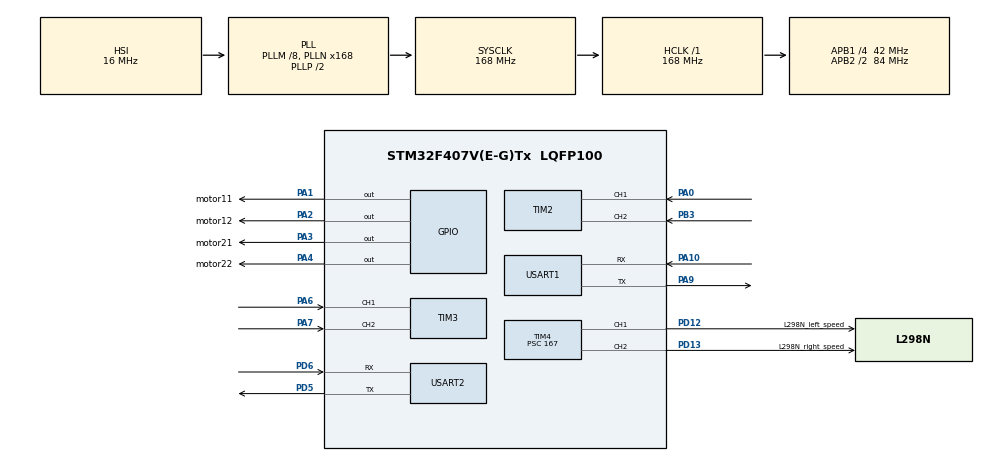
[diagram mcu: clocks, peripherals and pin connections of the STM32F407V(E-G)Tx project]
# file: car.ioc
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Dma.Request0=USART2_RX
Dma.Request1=USART2_TX
Dma.USART2_RX.0.Direction=DMA_PERIPH_TO_MEMORY
Dma.USART2_RX.0.FIFOMode=DMA_FIFOMODE_DISABLE
Dma.USART2_RX.0.Instance=DMA1_Stream5
Dma.USART2_RX.0.MemDataAlignment=DMA_MDATAALIGN_BYTE
Dma.USART2_RX.0.MemInc=DMA_MINC_ENABLE
Dma.USART2_RX.0.Mode=DMA_NORMAL
Dma.USART2_RX.0.PeriphDataAlignment=DMA_PDATAALIGN_BYTE
Dma.USART2_RX.0.PeriphInc=DMA_PINC_DISABLE
Dma.USART2_RX.0.Priority=DMA_PRIORITY_LOW
Dma.USART2_TX.1.Direction=DMA_MEMORY_TO_PERIPH
Dma.USART2_TX.1.FIFOMode=DMA_FIFOMODE_DISABLE
Dma.USART2_TX.1.Instance=DMA1_Stream6
Dma.USART2_TX.1.MemDataAlignment=DMA_MDATAALIGN_BYTE
Dma.USART2_TX.1.MemInc=DMA_MINC_ENABLE
Dma.USART2_TX.1.Mode=DMA_NORMAL
Dma.USART2_TX.1.PeriphDataAlignment=DMA_PDATAALIGN_BYTE
Dma.USART2_TX.1.PeriphInc=DMA_PINC_DISABLE
Dma.USART2_TX.1.Priority=DMA_PRIORITY_LOW
Mcu.Family=STM32F4
Mcu.Name=STM32F407V(E-G)Tx
Mcu.Package=LQFP100
NVIC.DMA1_Stream5_IRQn=true\:0\:0\:false\:false\:true\:false\:true\:true
NVIC.DMA1_Stream6_IRQn=true\:0\:0\:false\:false\:true\:false\:true\:true
NVIC.PriorityGroup=NVIC_PRIORITYGROUP_4
NVIC.TIM1_BRK_TIM9_IRQn=true\:0\:0\:false\:false\:true\:true\:true\:true
NVIC.USART2_IRQn=true\:0\:0\:false\:false\:true\:true\:true\:true
PA0-WKUP.Signal=S_TIM2_CH1_ETR
PA1.GPIO_Label=motor11
PA1.Signal=GPIO_Output
PA10.Mode=Asynchronous
PA10.Signal=USART1_RX
PA13.Mode=Serial_Wire
PA13.Signal=SYS_JTMS-SWDIO
PA14.Mode=Serial_Wire
PA14.Signal=SYS_JTCK-SWCLK
PA2.GPIO_Label=motor12
PA2.Signal=GPIO_Output
PA3.GPIO_Label=motor21
PA3.Signal=GPIO_Output
PA4.GPIO_Label=motor22
PA4.Signal=GPIO_Output
PA6.Signal=S_TIM3_CH1
PA7.Signal=S_TIM3_CH2
PA9.Mode=Asynchronous
PA9.Signal=USART1_TX
PB3.Signal=S_TIM2_CH2
PD12.GPIO_Label=L298N_left_speed
PD12.GPIO_Speed=GPIO_SPEED_FREQ_HIGH
PD12.Signal=S_TIM4_CH1
PD13.GPIO_Label=L298N_right_speed
PD13.GPIO_Speed=GPIO_SPEED_FREQ_HIGH
PD13.Signal=S_TIM4_CH2
PD5.Mode=Asynchronous
PD5.Signal=USART2_TX
PD6.Mode=Asynchronous
PD6.Signal=USART2_RX
PH0-OSC_IN.Mode=HSE-External-Oscillator
PH0-OSC_IN.Signal=RCC_OSC_IN
PH1-OSC_OUT.Mode=HSE-External-Oscillator
PH1-OSC_OUT.Signal=RCC_OSC_OUT
ProjectManager.HeapSize=0x200
ProjectManager.StackSize=0x400
ProjectManager.TargetToolchain=MDK-ARM V5.32
RCC.48MHZClocksFreq_Value=84000000
RCC.AHBFreq_Value=168000000
RCC.APB1CLKDivider=RCC_HCLK_DIV4
RCC.APB1Freq_Value=42000000
RCC.APB1TimFreq_Value=84000000
RCC.APB2CLKDivider=RCC_HCLK_DIV2
RCC.APB2Freq_Value=84000000
RCC.APB2TimFreq_Value=168000000
RCC.CortexFreq_Value=168000000
RCC.HCLKFreq_Value=168000000
RCC.HSE_VALUE=8000000
RCC.HSI_VALUE=16000000
RCC.LSE_VALUE=32768
RCC.PLLM=8
RCC.PLLN=168
RCC.SYSCLKFreq_VALUE=168000000
RCC.SYSCLKSource=RCC_SYSCLKSOURCE_PLLCLK
RCC.VCOOutputFreq_Value=336000000
SH.S_TIM2_CH1_ETR.0=TIM2_CH1,Encoder_Interface
SH.S_TIM2_CH2.0=TIM2_CH2,Encoder_Interface
SH.S_TIM3_CH1.0=TIM3_CH1,Encoder_Interface
SH.S_TIM3_CH2.0=TIM3_CH2,Encoder_Interface
SH.S_TIM4_CH1.0=TIM4_CH1,PWM Generation1 CH1
SH.S_TIM4_CH2.0=TIM4_CH2,PWM Generation2 CH2
TIM2.EncoderMode=TIM_ENCODERMODE_TI12
TIM2.IC1Filter=10
TIM2.IC2Filter=10
TIM3.EncoderMode=TIM_ENCODERMODE_TI12
TIM3.IC1Filter=10
TIM3.IC2Filter=10
TIM4.AutoReloadPreload=TIM_AUTORELOAD_PRELOAD_ENABLE
TIM4.Channel-PWM\ Generation1\ CH1=TIM_CHANNEL_1
TIM4.Channel-PWM\ Generation2\ CH2=TIM_CHANNEL_2
TIM4.Period=99
TIM4.Prescaler=167
TIM9.Period=100
TIM9.Prescaler=16800-1
USART1.VirtualMode=VM_ASYNC
USART2.VirtualMode=VM_ASYNC
VP_TIM4_VS_ClockSourceINT.Mode=Internal
VP_TIM9_VS_ClockSourceINT.Mode=Internal
board=custom

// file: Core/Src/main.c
/* USER CODE BEGIN Header */
/**
  ******************************************************************************
  * @file           : main.c
  * @brief          : Main program body
  ******************************************************************************
  * @attention
  *
  * Copyright (c) 2023 STMicroelectronics.
  * All rights reserved.
  *
  * This software is licensed under terms that can be found in the LICENSE file
  * in the root directory of this software component.
  * If no LICENSE file comes with this software, it is provided AS-IS.
  *
  ******************************************************************************
  */
/* USER CODE END Header */
#include "main.h"
#include "dma.h"
#include "tim.h"
#include "usart.h"
#include "gpio.h"

/* USER CODE BEGIN Includes */
#include "motor.h"
#include "encoder.h"
#include <stdio.h>
#include <string.h>
#include <stdlib.h>
/* USER CODE END Includes */

/* USER CODE BEGIN PM */
uint8_t receive_buff[255];
int data_length=7;
#define USART_TX_LEN 7
uint8_t USART_TX_BUF[USART_TX_LEN];

///////////////////////////////
void recieve(void);
void send(void);

int ble_send(uint8_t *data,int len);
void Float_to_Byte(float f,uint8_t *byte);
void Short_to_Byte(short s,uint8_t *byte);
void Int_to_Byte(int i,uint8_t *byte);

void limiting_target_rpm_right(void);
void limiting_target_rpm_left(void);

void encoder_speed(void);

typedef struct {
    uint8_t option;
		int xunji;
		char aim_or_not;
} RecData;

 RecData rec_data;//蓝牙接收摇杆数据

float rmp_left,rmp_right;//目前转速

int target_rpm_right_origin=0;//解算后的目标转速
int target_rpm_left_origin=0;//目标转速
int target_rpm_right=0;//积分限幅后的目标转速
int target_rpm_left=0;//目标转速
/* USER CODE END PM */

/* USER CODE BEGIN PV */
uint32_t speed = 60 ;
uint32_t rmp_base = 250 ;

//pid
int Encoder_count_left,Encoder_count_right,Target_Velocity_left,Target_Velocity_right;
float Velocity_KP=0.6,Velocity_KI=0.06,Velocity_KD;

int Moto_pwm_left=0;
int Moto_pwm_right=0;

/* USER CODE END PV */

void SystemClock_Config(void);

int main(void)
{

  /* MCU Configuration--------------------------------------------------------*/

  /* Reset of all peripherals, Initializes the Flash interface and the Systick. */
  HAL_Init();

  /* Configure the system clock */
  SystemClock_Config();

  /* Initialize all configured peripherals */
  MX_GPIO_Init();
  MX_DMA_Init();
  MX_TIM4_Init();
  MX_TIM2_Init();
  MX_USART1_UART_Init();
  MX_TIM9_Init();
  MX_TIM3_Init();
  MX_USART2_UART_Init();
  /* USER CODE BEGIN 2 */
   HAL_TIM_Encoder_Start(&htim2, TIM_CHANNEL_ALL);//开启TIM2的编码器接口模式
	  HAL_TIM_Encoder_Start(&htim3, TIM_CHANNEL_ALL);//开启TIM3的编码器接口模式

		//PWM输出
		HAL_TIM_PWM_Start(&htim4, TIM_CHANNEL_1);
		HAL_TIM_PWM_Start(&htim4, TIM_CHANNEL_2);

		//__HAL_TIM_SET_COMPARE(&htim4, TIM_CHANNEL_1,speed);
		//__HAL_TIM_SET_COMPARE(&htim4, TIM_CHANNEL_2,speed);

		car_go_straight();

		HAL_TIM_Base_Start_IT(&htim9);

  /* USER CODE END 2 */

  /* Infinite loop */
  while (1)
  {

    /* USER CODE BEGIN 3 */
		HAL_UART_Receive_DMA(&huart2, (uint8_t*)receive_buff, data_length);
		recieve();//recieve
		//send();//send
		encoder_speed();
		HAL_Delay(15);

  }
  /* USER CODE END 3 */
}

void SystemClock_Config(void)
{
  RCC_OscInitTypeDef RCC_OscInitStruct = {0};
  RCC_ClkInitTypeDef RCC_ClkInitStruct = {0};

  /** Configure the main internal regulator output voltage
  */
  __HAL_RCC_PWR_CLK_ENABLE();
  __HAL_PWR_VOLTAGESCALING_CONFIG(PWR_REGULATOR_VOLTAGE_SCALE1);

  /** Initializes the RCC Oscillators according to the specified parameters
  * in the RCC_OscInitTypeDef structure.
  */
  RCC_OscInitStruct.OscillatorType = RCC_OSCILLATORTYPE_HSI;
  RCC_OscInitStruct.HSIState = RCC_HSI_ON;
  RCC_OscInitStruct.HSICalibrationValue = RCC_HSICALIBRATION_DEFAULT;
  RCC_OscInitStruct.PLL.PLLState = RCC_PLL_ON;
  RCC_OscInitStruct.PLL.PLLSource = RCC_PLLSOURCE_HSI;
  RCC_OscInitStruct.PLL.PLLM = 8;
  RCC_OscInitStruct.PLL.PLLN = 168;
  RCC_OscInitStruct.PLL.PLLP = RCC_PLLP_DIV2;
  RCC_OscInitStruct.PLL.PLLQ = 4;
  if (HAL_RCC_OscConfig(&RCC_OscInitStruct) != HAL_OK)
  {
    Error_Handler();
  }

  /** Initializes the CPU, AHB and APB buses clocks
  */
  RCC_ClkInitStruct.ClockType = RCC_CLOCKTYPE_HCLK|RCC_CLOCKTYPE_SYSCLK
                              |RCC_CLOCKTYPE_PCLK1|RCC_CLOCKTYPE_PCLK2;
  RCC_ClkInitStruct.SYSCLKSource = RCC_SYSCLKSOURCE_PLLCLK;
  RCC_ClkInitStruct.AHBCLKDivider = RCC_SYSCLK_DIV1;
  RCC_ClkInitStruct.APB1CLKDivider = RCC_HCLK_DIV4;
  RCC_ClkInitStruct.APB2CLKDivider = RCC_HCLK_DIV2;

  if (HAL_RCC_ClockConfig(&RCC_ClkInitStruct, FLASH_LATENCY_5) != HAL_OK)
  {
    Error_Handler();
  }
}

/* USER CODE BEGIN 4 */
void recieve(void){
				rec_data.xunji = *((int *) (&receive_buff[1]));
				rec_data.aim_or_not=*((char *) (&receive_buff[5]));

				//printf("decodertest");//1
				//printf("xunji=%d ",rec_data.xunji);
				//printf("aim_or_not=%c\n",rec_data.aim_or_not);

}

void send(void){//send speed to phone
		USART_TX_BUF[0] = 0xA5;

		Float_to_Byte(rmp_left,&USART_TX_BUF[1]);
		Float_to_Byte(rmp_right,&USART_TX_BUF[5]);

		//USART_TX_BUF[9] =(uint8_t) ((USART_TX_BUF[1]+USART_TX_BUF[2]+USART_TX_BUF[3]+USART_TX_BUF[4]+USART_TX_BUF[5]+USART_TX_BUF[6]+USART_TX_BUF[7]+USART_TX_BUF[8])&0xff);

		//USART_TX_BUF[10] = 0x5A;
		ble_send(USART_TX_BUF,11);

}

//send data to hc-05
int ble_send(uint8_t *data,int len)
{
	while(__HAL_UART_GET_FLAG(&huart2,UART_FLAG_TC)!=SET);	//wait until tx complete
	if(!data)return -1;
	HAL_UART_Transmit_DMA(&huart2,(uint8_t *)data,len);	//使用DMA模式发送
	while(__HAL_UART_GET_FLAG(&huart2,UART_FLAG_TC)!=SET);
	return 0;
}

//change to byte
void Int_to_Byte(int i,uint8_t *byte)
{

	unsigned long longdata = 0;
	longdata = *(unsigned long*)&i;
	byte[3] = (longdata & 0xFF000000) >> 24;
	byte[2] = (longdata & 0x00FF0000) >> 16;
	byte[1] = (longdata & 0x0000FF00) >> 8;
	byte[0] = (longdata & 0x000000FF);

}
void Float_to_Byte(float f,uint8_t *byte)
{

	unsigned long longdata = 0;
	longdata = *(unsigned long*)&f;
	byte[3] = (longdata & 0xFF000000) >> 24;
	byte[2] = (longdata & 0x00FF0000) >> 16;
	byte[1] = (longdata & 0x0000FF00) >> 8;
	byte[0] = (longdata & 0x000000FF);

}

void Short_to_Byte(short s,uint8_t *byte)
{

	byte[1] = (s & 0xFF00) >> 8;
	byte[0] = (s & 0xFF);
}

//目标值限幅
void limiting_target_rpm_left(void)
{
	  int maximum=700;    //积分最大为

		target_rpm_left=target_rpm_left_origin;
	  if(target_rpm_left<-maximum) target_rpm_left=-maximum;
		if(target_rpm_left>maximum)  target_rpm_left=maximum;

}
void limiting_target_rpm_right(void)
{
	  int maximum=700;    //积分最大为

		target_rpm_right=target_rpm_right_origin;
	  if(target_rpm_right<-maximum) target_rpm_right=-maximum;
		if(target_rpm_right>maximum)  target_rpm_right=maximum;

}

void encoder_speed(void){

	if(rec_data.aim_or_not=='Y'){

		//在屏幕左边，左拐，右边加速
		if(rec_data.xunji<0){
			target_rpm_left_origin=rmp_base-0.25*abs(rec_data.xunji);
			target_rpm_right_origin=rmp_base+0.25*abs(rec_data.xunji);
			limiting_target_rpm_left();
			limiting_target_rpm_right();
		}

		//在屏幕右边，右拐，左边加速
		if(rec_data.xunji>=0){
			target_rpm_right_origin=rmp_base-0.25*abs(rec_data.xunji);
			target_rpm_left_origin=rmp_base+0.25*abs(rec_data.xunji);
			limiting_target_rpm_left();
			limiting_target_rpm_right();
		}

	}
	if(rec_data.aim_or_not=='N'){
		target_rpm_left=0;
		target_rpm_right=0;
	}
		//printf("target_rpm_left=%d ",target_rpm_left);
		//printf("target_rpm_right=%d\n\n ",target_rpm_right);
}
/* USER CODE END 4 */

void Error_Handler(void)
{
  __disable_irq();
  while (1)
  {
  }
}
